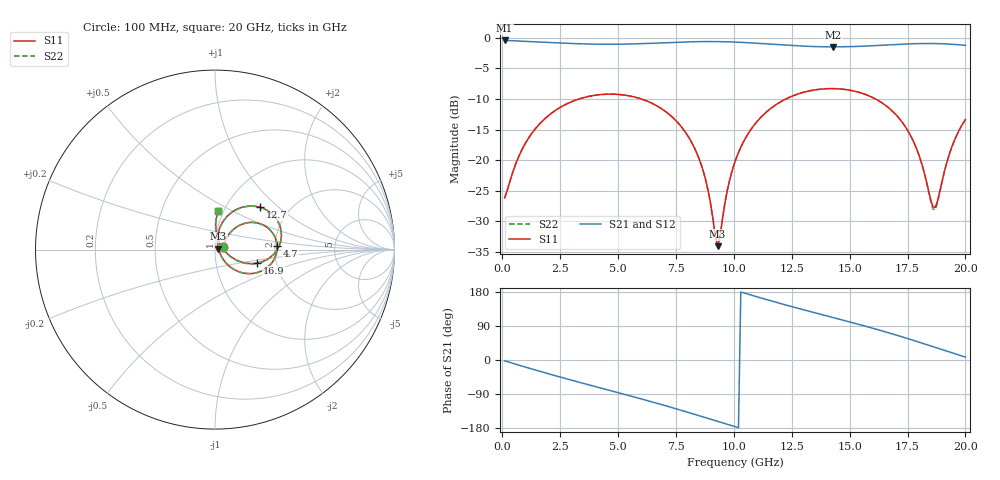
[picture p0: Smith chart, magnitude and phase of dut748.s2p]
! Touchstone file exported from HFSS 2026.1.0
!  File:  C:/ffzhzh/LocalFiles/Ansys_Project_Files/temp_train_TSV_RDL_748_1783205664_51560.aedt
!  Generated:  07:04:24 AM Jul  5, 2026
!  Design:  TSV_RDL
!  Project:  temp_train_TSV_RDL_748_1783205664_51560
! Variables:
!  h_bsmrdl = 5.29um
!  h_ox = 20um
!  h_rdl = 5um
!  h_sub = 65.27um
!  h_tmrdl = 2.01um
!  h_tsv = 65.27um
!  h_via = 3um
!  l_bsmrdl = 386.46um
!  l_sub = 5504.61um
!  l_tmrdl = 960.86um
!  m_sub = 200um
!  pitch = 31.16um
!  r_tsv = 12.85um
!  s_tmrdl = 10um
!  w_bsmrdl = 18.58um
!  w_sub = 500um
!  w_tmrdl = 15.35um
!  x_tsv_center1 = 968.535um
!  x_tsv_center2 = 1373.575um
!  x_tsv_center3 = 2349.785um
!  x_tsv_center4 = 2754.825um
!  x_tsv_center5 = 3731.035um
!  x_tsv_center6 = 4136.075um
# GHz S MA R 50.000000
! Terminal data exported
! Port[1] = TM_RDL1_1_T1
! Port[2] = TM_RDL5_1_T1
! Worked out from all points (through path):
!   200 points, 100 MHz to 20 GHz, reference 50 ohm
!   highest |S21| = -0.42 dB at 100 MHz (marker M1); lowest = -1.5 dB at 14.3 GHz (marker M2)
!   group delay of S21, straight-line fit = 48.3 ps
!   lowest |S11| = -34.1 dB at 9.3 GHz (marker M3), VSWR 1.04, Z = 52 + j0.452 ohm
!   |S11| at or under -10 dB: start of sweep to 3.307 GHz; 6.011 GHz to 12.24 GHz (6.233 GHz wide, 68.3 % of centre); 16.12 GHz to end of sweep
!   |S22| runs from -33.8 to -8.3 dB; largest |S21 - S12| = 1.6e-14
!   S11 on the Smith chart (normalised r, x): 100 MHz: 1.10, +0.03; 4.7 GHz: 2.06, +0.09; 12.7 GHz: 1.43, +0.76; 16.9 GHz: 1.59, -0.25; 20 GHz: 0.95, +0.43
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0.1  0.04904 15.3  0.953 -2.0  0.953 -2.0  0.04904 15.3
! Gamma 0 0 0 0
! Port Impedance 50 0 50 0
0.7  0.106 47.0  0.9431 -13.3  0.9431 -13.3  0.106 47.0
1.4  0.1779 46.0  0.9294 -25.9  0.9294 -25.9  0.1779 46.0
3.5  0.3243 20.2  0.8933 -61.7  0.8933 -61.7  0.3243 20.2
4.7  0.3468 3.1  0.8871 -81.3  0.8871 -81.3  0.3468 3.1
6.8  0.2694 -28.3  0.9093 -116.3  0.9093 -116.3  0.2694 -28.2
7.7  0.1908 -41.6  0.9237 -132.2  0.9237 -132.2  0.1908 -41.5
8.4  0.1143 -49.8  0.9316 -145.1  0.9316 -145.1  0.1143 -49.6
8.9  0.05509 -47.6  0.9336 -154.4  0.9336 -154.4  0.05522 -47.2
9.3  0.0198 12.7  0.9326 -161.9  0.9326 -161.9  0.02032 12.8
9.7  0.05452 75.7  0.9292 -169.4  0.9292 -169.4  0.05478 75.1
10.1  0.1032 78.8  0.9234 -176.8  0.9234 -176.8  0.1034 78.4
11.1  0.2173 67.3  0.9013 165.0  0.9013 165.0  0.2174 67.0
12.7  0.3441 43.3  0.8618 137.6  0.8618 137.6  0.3442 43.1
13.4  0.3729 32.9  0.8504 126.2  0.8504 126.2  0.373 32.7
14.3  0.3847 19.7  0.8447 111.8  0.8447 111.8  0.3848 19.5
16.7  0.2666 -15.0  0.8771 71.5  0.8771 71.5  0.2666 -15.5
16.9  0.2463 -17.7  0.8813 67.9  0.8813 67.9  0.2462 -18.2
17.8  0.1365 -25.9  0.8965 51.0  0.8965 51.0  0.1362 -26.8
18.7  0.04113 39.6  0.8986 33.3  0.8986 33.3  0.03922 39.7
19.3  0.1112 87.2  0.8898 21.3  0.8898 21.3  0.1104 88.0
20  0.2152 84.8  0.8696 7.6  0.8696 7.6  0.2147 85.2
